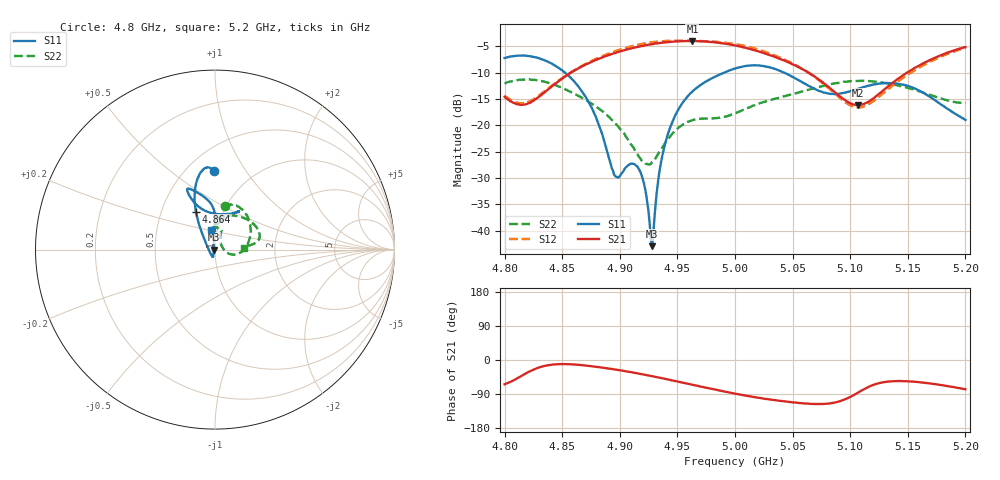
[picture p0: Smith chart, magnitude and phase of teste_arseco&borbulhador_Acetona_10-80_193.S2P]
! Network Analyzer HP8722D
! Hewlett-Packard
! Data name: Linha & Wilkinson
! Saver's name: Rodrigo Anjos
! Comments: Teste da utilização de aquisição
! continua pelo VNA HP8722D
! Time and date: 25/4/2025 16:52
!  Frequency  S11  S21  S12  S22
# HZ  S  MA R 50
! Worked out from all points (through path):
!   401 points, 4.8 GHz to 5.2 GHz, reference 50 ohm
!   highest |S21| = -3.98 dB at 4.963 GHz (marker M1); lowest = -16.2 dB at 5.107 GHz (marker M2)
!   lowest |S11| = -42.9 dB at 4.928 GHz (marker M3), VSWR 1.01, Z = 49.3 + j0.024 ohm
!   |S11| at or under -10 dB: 4.852 GHz to 4.99 GHz (137.7 MHz wide, 2.8 % of centre); 5.043 GHz to end of sweep
!   |S22| runs from -27.4 to -11.3 dB; largest |S21 - S12| = 1.2
!   S11 on the Smith chart (normalised r, x): 4.8 GHz: 0.67, +0.72; 4.864 GHz: 0.75, +0.33; 5.2 GHz: 0.94, +0.21
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4.8e9  0.4355 91.0  0.1863 -64.0  0.1912 69.5  0.2488 77.1
4.82e9  0.4551 97.3  0.1609 -32.7  0.1665 98.1  0.2719 62.2
4.843e9  0.3741 106.6  0.2438 -11.7  0.2475 118.9  0.244 37.4
4.864e9  0.2345 116.9  0.3486 -12.7  0.351 121.1  0.1904 12.4
4.867e9  0.2111 118.5  0.3619 -13.6  0.3659 120.8  0.1832 9.1
4.88e9  0.114 128.5  0.4205 -18.2  0.4313 118.4  0.1489 -4.9
4.896e9  0.03304 -169.7  0.4873 -25.0  0.5055 113.4  0.1052 -15.3
4.91e9  0.04324 -107.5  0.537 -32.2  0.5626 107.3  0.0652 -13.2
4.917e9  0.0376 -104.4  0.5596 -36.3  0.5869 103.8  0.04971 -0.5
4.921e9  0.02804 -108.0  0.5718 -38.4  0.5978 101.4  0.04428 11.9
4.928e9  0.007133 178.0  0.5909 -42.6  0.6164 97.3  0.04481 39.9
4.934e9  0.03399 100.4  0.6029 -46.5  0.627 93.6  0.05529 57.4
4.939e9  0.0646 93.4  0.6127 -49.5  0.6328 90.2  0.06714 65.1
4.945e9  0.1036 90.6  0.621 -53.5  0.6386 86.6  0.08168 69.0
4.963e9  0.2093 90.9  0.6327 -65.3  0.6358 75.1  0.1117 70.9
5e9  0.3465 109.4  0.5737 -88.9  0.5919 50.9  0.1304 88.1
5.03e9  0.356 115.4  0.4652 -104.0  0.4803 34.0  0.1729 85.6
5.067e9  0.2275 105.8  0.3012 -115.7  0.2994 23.6  0.2224 57.3
5.107e9  0.2224 64.7  0.1558 -85.6  0.1474 57.5  0.2645 24.3
5.134e9  0.2519 57.9  0.2396 -56.5  0.2247 88.7  0.2484 12.6
5.17e9  0.1842 71.2  0.421 -62.2  0.4056 84.6  0.1938 6.8
5.2e9  0.1127 100.7  0.5531 -77.3  0.5423 70.4  0.1623 3.8
